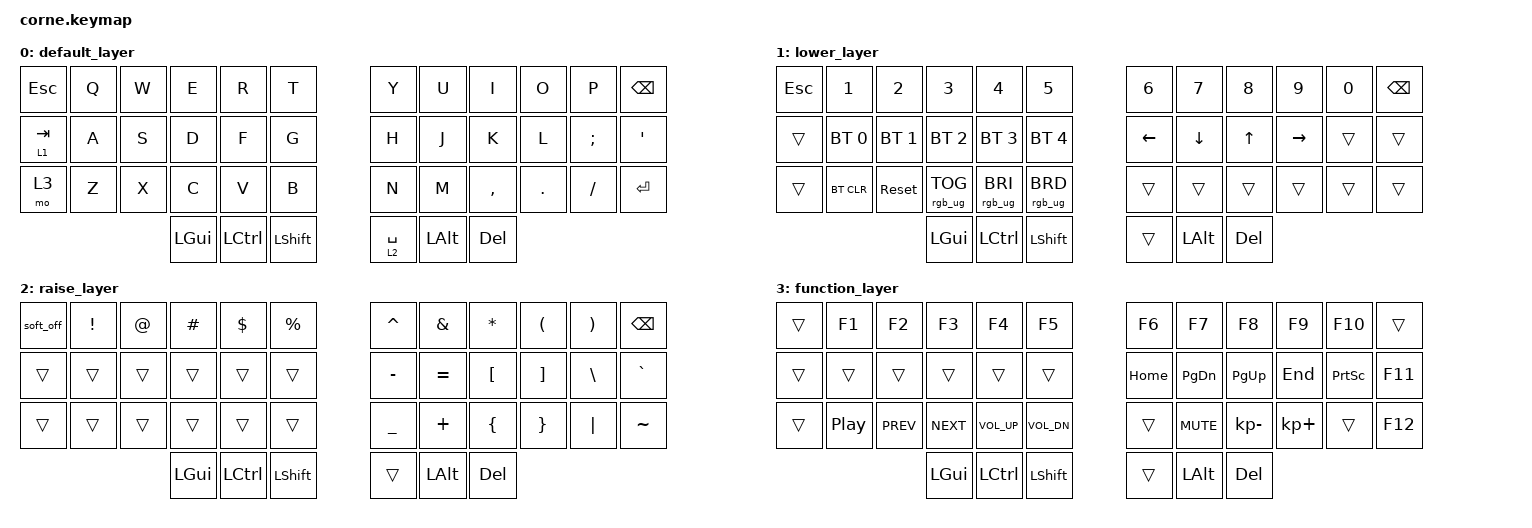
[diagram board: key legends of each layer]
/*
 * Copyright (c) 2020 The ZMK Contributors
 *
 * SPDX-License-Identifier: MIT
 */

#include <behaviors.dtsi>
#include <dt-bindings/zmk/keys.h>
#include <dt-bindings/zmk/bt.h>
#include <dt-bindings/zmk/rgb.h>

&led_strip {
  chain-length = <27>;
  // 21 backlight + 6 glowlight
};

&lt {
    flavor = "hold-preferred";
};

/ {
        keymap {
                compatible = "zmk,keymap";

                default_layer {
// -----------------------------------------------------------------------------------------
// | ESC  |  Q  |  W  |  E  |  R  |  T  |   |  Y  |  U   |  I  |  O  |  P  | BSPC |
// | TAB  |  A  |  S  |  D  |  F  |  G  |   |  H  |  J   |  K  |  L  |  ;  |  '   |
// | LSHFT|  Z  |  X  |  C  |  V  |  B  |   |  N  |  M   |  ,  |  .  |  /  | ENT  |
//                    | GUI |LCTRL|SHIFT|   | SPC | ALT  | DEL |
                        bindings = <
   &kp ESC   &kp Q &kp W &kp E &kp R &kp T   &kp Y &kp U  &kp I     &kp O   &kp P    &kp BSPC
   &lt 1 TAB &kp A &kp S &kp D &kp F &kp G   &kp H &kp J  &kp K     &kp L   &kp SEMI &kp SQT
   &mo 3 &kp Z &kp X &kp C &kp V &kp B   &kp N &kp M  &kp COMMA &kp DOT &kp FSLH &kp RET
                  &kp LGUI &kp LCTRL &kp LSHFT   &lt 2 SPACE &kp LALT &kp DEL
                        >;
                };
                lower_layer {
// -----------------------------------------------------------------------------------------
// |  ESC |  1  |  2  |  3  |  4  |  5  |   |  6  |  7  |  8  |  9  |  0  | BSPC |
// |      | BT1 | BT2 | BT3 | BT4 | BT5 |   | LFT | DWN |  UP | RGT |     |      |
// | LSHFT|BTCLR| RST |RGB_T|RGB_I|RGB_D|   |     |     |     |     |     |      |
//                    | GUI |LCTRL|LSHFT|   | SPC | ALT | DEL |
                        bindings = <
   &kp ESC    &kp N1       &kp N2       &kp N3       &kp N4       &kp N5         &kp N6   &kp N7   &kp N8 &kp N9    &kp N0 &kp BSPC
   &trans     &bt BT_SEL 0 &bt BT_SEL 1 &bt BT_SEL 2 &bt BT_SEL 3 &bt BT_SEL 4   &kp LEFT &kp DOWN &kp UP &kp RIGHT &trans &trans
   &trans  &bt BT_CLR   &sys_reset   &rgb_ug RGB_TOG  &rgb_ug RGB_BRI  &rgb_ug RGB_BRD    &trans   &trans   &trans &trans    &trans &trans
                           &kp LGUI     &kp LCTRL    &kp LSHFT    &trans         &kp LALT &kp DEL
                        >;
                };

                raise_layer {
// -----------------------------------------------------------------------------------------
// |  ESC |  !  |  @  |  #  |  $  |  %  |   |  ^  |  &  |  *  |  (  |  )  | BSPC |
// |      |     |     |     |     |     |   |  -  |  =  |  [  |  ]  |  \  |  `   |
// | SHFT |     |     |     |     |     |   |  _  |  +  |  {  |  }  | "|" |  ~   |
//                    | GUI |     | SPC |   | ENT |     | ALT |
                        bindings = <
   &soft_off &kp EXCL &kp AT &kp HASH &kp DLLR &kp PRCNT   &kp CARET &kp AMPS  &kp ASTRK &kp LPAR &kp RPAR &kp BSPC
   &trans    &trans   &trans &trans   &trans   &trans      &kp MINUS &kp EQUAL &kp LBKT  &kp RBKT &kp BSLH &kp GRAVE
   &trans    &trans   &trans &trans   &trans   &trans      &kp UNDER &kp PLUS  &kp LBRC  &kp RBRC &kp PIPE &kp TILDE
                             &kp LGUI &kp LCTRL   &kp LSHFT   &trans    &kp LALT     &kp DEL
                        >;
                };
                
                function_layer {
                    bindings = <
   &trans    &kp F1   &kp F2 &kp F3   &kp F4   &kp F5      &kp F6    &kp F7    &kp F8    &kp F9   &kp F10  &trans
   &trans    &trans   &trans &trans   &trans   &trans      &kp HOME &kp PG_DN &kp PG_UP &kp END &kp PSCRN &kp F11
   &trans    &kp C_PP &kp C_PREV &kp C_NEXT   &kp C_VOL_UP   &kp C_VOL_DN      &trans &kp C_MUTE  &kp KP_MINUS  &kp KP_PLUS &trans &kp F12
                             &kp LGUI &kp LCTRL   &kp LSHFT   &trans    &kp LALT     &kp DEL
                    >;
                };
        };
};
